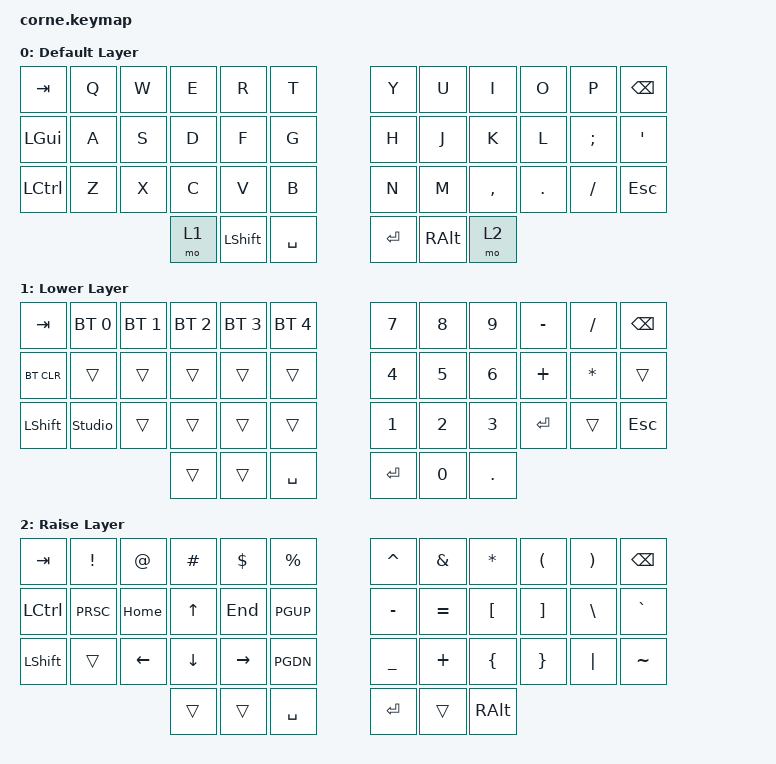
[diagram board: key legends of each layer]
/*
 * Copyright (c) 2020 The ZMK Contributors
 *
 * SPDX-License-Identifier: MIT
 */

#include <behaviors.dtsi>
#include <dt-bindings/zmk/keys.h>
#include <dt-bindings/zmk/bt.h>

/ {
        keymap {
                compatible = "zmk,keymap";

                default_layer {
                        display-name = "Default Layer";
// -----------------------------------------------------------------------------------------
// |  TAB |  Q  |  W  |  E  |  R  |  T  |    |  Y  |  U   |  I  |  O  |  P  | BSPC |
// | GUI  |  A  |  S  |  D  |  F  |  G  |    |  H  |  J   |  K  |  L  |  ;  |  '   |
// | CTRL |  Z  |  X  |  C  |  V  |  B  |    |  N  |  M   |  ,  |  .  |  /  | ESC  |
//                    | LWR | SHFT | SPC |  | ENT | ALT | RSE |  
                        bindings = <
   &kp TAB   &kp Q &kp W &kp E &kp R     &kp T       &kp Y &kp U  &kp I     &kp O   &kp P    &kp BSPC
   &kp LGUI  &kp A &kp S &kp D &kp F     &kp G       &kp H &kp J  &kp K     &kp L   &kp SEMI &kp SQT
   &kp LCTRL &kp Z &kp X &kp C &kp V     &kp B       &kp N &kp M  &kp COMMA &kp DOT &kp FSLH &kp ESC
                         &mo 1 &kp LSHFT &kp SPACE   &kp RET &kp RALT &mo 2
                        >;
                };
                lower_layer {
                        display-name = "Lower Layer";
// -----------------------------------------------------------------------------------------
// |  TAB |  BT1 | BT2 | BT3 | BT4 | BT5 |    |  7  |  8  |  9  |  -  |  /  |  BSPC |
// | BTCLR|      |     |     |     |     |    |  4  |  5  |  6  |  +  |  *  |   '   |
// | SHFT | STUL |     |     |     |     |    |  1  |  2  |  3  | ENT |  /  |  ESC  |
//                      |     |     | SPC |  | ENT |  0  |  .  |
                        bindings = <
   &kp TAB    &bt BT_SEL 0    &bt BT_SEL 1 &bt BT_SEL 2 &bt BT_SEL 3 &bt BT_SEL 4   &kp N7   &kp N8 &kp N9 &kp MINUS &kp FSLH  &kp BSPC
   &bt BT_CLR &trans          &trans       &trans       &trans       &trans         &kp N4   &kp N5 &kp N6 &kp PLUS  &kp ASTRK &trans
   &kp LSHFT  &studio_unlock  &trans       &trans       &trans       &trans         &kp N1   &kp N2 &kp N3 &kp RET   &trans    &kp ESC
                                           &trans       &trans       &kp SPACE      &kp RET  &kp N0 &kp DOT
                        >;
                };

                raise_layer {
                        display-name = "Raise Layer";
// -----------------------------------------------------------------------------------------
// |  TAB |  !   |  @   |  #   |   $   |   %    |    |  ^  |  &  |  *  |  (  |  )  | BSPC |
// | CTRL | PRSC | HOME |  UP  |  END  |  PGUP  |    |  -  |  =  |  [  |  ]  |  \  |  `   |
// | SHFT |      | LEFT | DOWN | RIGHT |  PGDN  |    |  _  |  +  |  {  |  }  | "|" |  ~   |
//                             |     |     | SPC |  | ENT |     | ALT |
                        bindings = <
   &kp  TAB  &kp EXCL &kp AT   &kp HASH &kp DLLR  &kp PRCNT     &kp CARET &kp AMPS  &kp ASTRK &kp LPAR &kp RPAR &kp BSPC
   &kp LCTRL &kp PRSC &kp HOME &kp UP   &kp END   &kp PGUP      &kp MINUS &kp EQUAL &kp LBKT  &kp RBKT &kp BSLH &kp GRAVE
   &kp LSHFT &trans   &kp LEFT &kp DOWN &kp RIGHT &kp PGDN      &kp UNDER &kp PLUS  &kp LBRC  &kp RBRC &kp PIPE &kp TILDE
                               &trans   &trans   &kp SPACE      &kp RET   &trans    &kp RALT
                        >;
                };
        };
};
